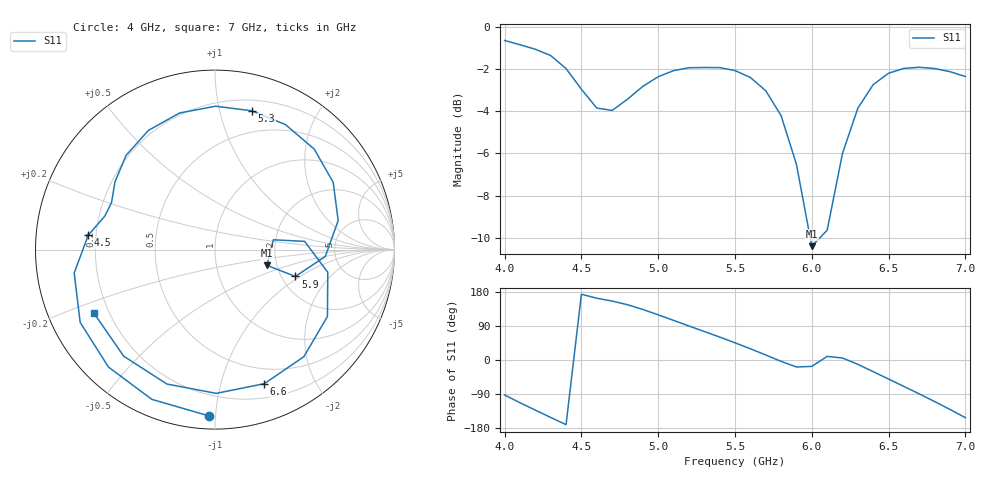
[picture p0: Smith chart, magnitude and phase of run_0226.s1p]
! Touchstone file exported from HFSS 2024.2.0
!  File:  C:/Users/wsak9/Desktop/Sim Fast/Widenad Patch/WP_AI_V1_sweep.aedt
!  Generated:  12:26:29 AM Oct 14, 2026
!  Design:  A1_model
!  Project:  WP_AI_V1_sweep
!  Setup:  Setup1
!  Solution:  Sweep
! Variables:
!  Air_gap = 2.08mm
!  Curve_Amp1 = 1.6
!  Curve_len1 = 1
!  Curve_pos = 10.845mm
!  Extra = 3.37mm
!  H_sub = 0.79mm
!  L_Patch = 17.69mm
!  L_Patch1 = 17.85mm
!  Sx = 2.09mm
!  Sy = 1.41mm
!  WS = 1.2mm
!  W_Patch = 21.97mm
!  W_Patch1 = 14.48mm
!Data is not renormalized
# GHz S MA
! Terminal data exported
! Port[1] = 1
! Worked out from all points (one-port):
!   31 points, 4 GHz to 7 GHz, reference per port
!   lowest |S11| = -10.4 dB at 6 GHz (marker M1), VSWR 1.87
!   |S11| at or under -10 dB: 5.99 GHz to 6.052 GHz (61.73 MHz wide, 1.03 % of centre)
!   S11 on the Smith chart (normalised r, x): 4 GHz: 0.07, -0.96; 4.5 GHz: 0.17, +0.06; 5.3 GHz: 0.29, +1.26; 5.9 GHz: 2.37, -0.91; 6.6 GHz: 0.34, -1.38; 7 GHz: 0.14, -0.24
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4  0.9268 -92.2
4.1  0.9055 -112.9
4.2  0.8835 -132.2
4.3  0.8536 -151.7
4.4  0.7953 -170.6
4.5  0.7107 173.5
4.6  0.6414 163.0
4.8  0.673 145.9
4.9  0.7218 133.3
5  0.7608 119.2
5.2  0.7989 89.7
5.3  0.8 75.2
5.5  0.7868 45.4
5.6  0.7576 29.6
5.7  0.7051 13.2
5.8  0.6157 -3.6
5.9  0.472 -18.5
6  0.3024 -16.9
6.1  0.3297 9.5
6.2  0.5013 5.3
6.3  0.6411 -11.4
6.4  0.7289 -30.8
6.5  0.7754 -50.3
6.6  0.796 -69.8
6.7  0.801 -89.5
6.8  0.7955 -109.7
6.9  0.7819 -130.6
7  0.7615 -152.2
